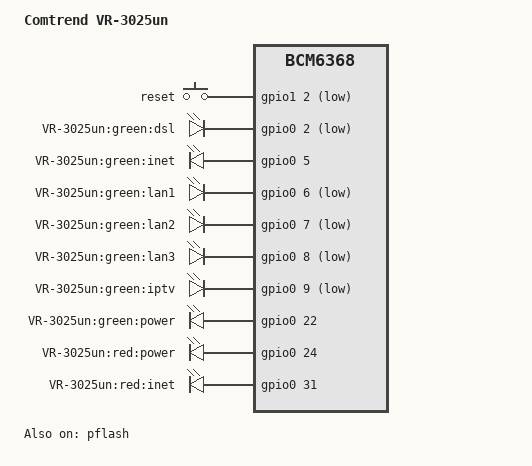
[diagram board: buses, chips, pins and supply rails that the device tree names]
/dts-v1/;

#include "bcm6368.dtsi"

#include <dt-bindings/input/input.h>

/ {
	model = "Comtrend VR-3025un";
	compatible = "comtrend,vr-3025un", "brcm,bcm6368";

	chosen {
		bootargs = "root=/dev/mtdblock2 rootfstype=squashfs,jffs2 noinitrd console=ttyS0,115200";
	};

	gpio-keys-polled {
		compatible = "gpio-keys-polled";
		#address-cells = <1>;
		#size-cells = <0>;
		poll-interval = <20>;
		debounce-interval = <60>;

		reset {
			label = "reset";
			gpios = <&gpio1 2 1>;
			linux,code = <KEY_RESTART>;
		};
	};

	gpio-leds {
		compatible = "gpio-leds";

		dsl_green {
			label = "VR-3025un:green:dsl";
			gpios = <&gpio0 2 1>;
		};
		inet_green {
			label = "VR-3025un:green:inet";
			gpios = <&gpio0 5 0>;
		};
		lan1_green {
			label = "VR-3025un:green:lan1";
			gpios = <&gpio0 6 1>;
		};
		lan2_green {
			label = "VR-3025un:green:lan2";
			gpios = <&gpio0 7 1>;
		};
		lan3_green {
			label = "VR-3025un:green:lan3";
			gpios = <&gpio0 8 1>;
		};
		iptv_green {
			label = "VR-3025un:green:iptv";
			gpios = <&gpio0 9 1>;
		};
		power_green {
			label = "VR-3025un:green:power";
			gpios = <&gpio0 22 0>;
			default-state = "on";
		};
		power_red {
			label = "VR-3025un:red:power";
			gpios = <&gpio0 24 0>;
		};
		inet_red {
			label = "VR-3025un:red:inet";
			gpios = <&gpio0 31 0>;
		};
	};
};

&pflash {
	status = "ok";

	linux,part-probe = "bcm63xxpart";

	cfe@0 {
		label = "CFE";
		reg = <0x000000 0x010000>;
		read-only;
	};

	linux@10000 {
		label = "linux";
		reg = <0x010000 0x7e0000>;
	};

	nvram@7f0000 {
		label = "nvram";
		reg = <0x7f0000 0x010000>;
	};
};
